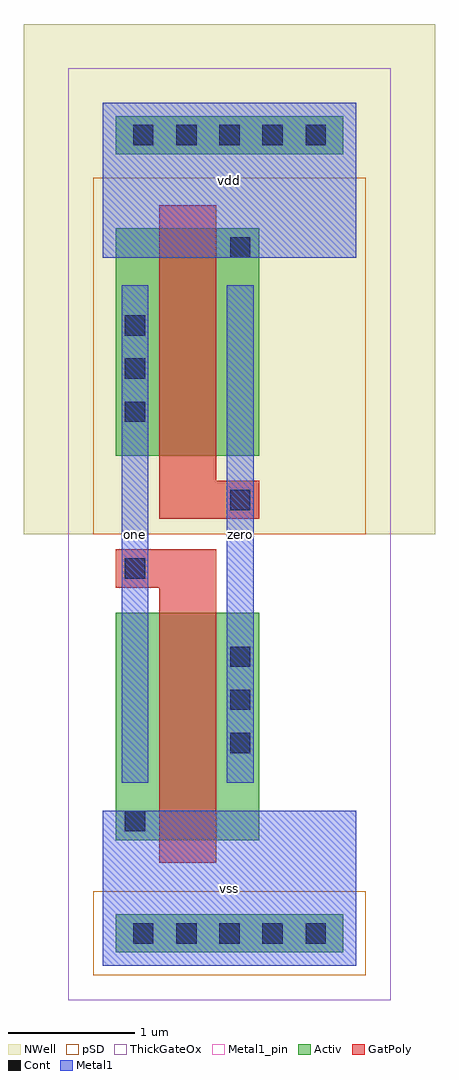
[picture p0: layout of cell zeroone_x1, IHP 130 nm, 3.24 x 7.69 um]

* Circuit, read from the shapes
.subckt zeroone_x1 one vdd vss zero
XM1 zero one vss vss sg13_hv_nmos w=1.79u l=0.45u
XM2 vdd zero one vdd sg13_hv_pmos w=1.79u l=0.45u
.ends

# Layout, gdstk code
import gdstk
lib = gdstk.Library(unit=1e-6, precision=1e-09)
def R(c, l, rs):  # rectangles x0, y0, x1, y1
    for r in rs: c.add(gdstk.rectangle(r[:2], r[2:], *l))
def A(c, l, x, y, w, h, nx, ny, dx, dy):  # array of equal rectangles
    R(c, l, [(x+i*dx, y+j*dy, x+i*dx+w, y+j*dy+h) for i in range(nx) for j in range(ny)])
def P(c, l, *ps):  # polygons
    for p in ps: c.add(gdstk.Polygon(p, *l))
Activ = (1, 0)
GatPoly = (5, 0)
Cont = (6, 0)
Metal1 = (8, 0)
Metal1_pin = (8, 2)
pSD = (14, 0)
NWell = (31, 0)
ThickGateOx = (44, 0)

zeroone_x1 = lib.new_cell('zeroone_x1')
R(zeroone_x1, Activ, [(0.105,0.105,1.895,0.405), (0.105,0.99,1.235,2.78), (0.105,4.02,1.235,5.81), (0.105,6.395,1.895,6.695)])
P(zeroone_x1, GatPoly, [(0.445,0.81),(0.445,2.98),(0.105,2.98),(0.105,3.28),(0.895,3.28),(0.895,0.81)],
  [(0.445,3.52),(0.445,5.99),(0.895,5.99),(0.895,3.82),(1.235,3.82),(1.235,3.52)])
A(zeroone_x1, Cont, 0.24, 0.175, 0.16, 0.16, 5, 2, 0.34, 6.29)
A(zeroone_x1, Cont, 1.005, 1.675, 0.16, 0.16, 1, 3, 0, 0.34)
A(zeroone_x1, Cont, 0.175, 4.285, 0.16, 0.16, 1, 3, 0, 0.34)
R(zeroone_x1, Cont, [(0.175,1.06,0.335,1.22), (0.175,3.05,0.335,3.21), (1.005,3.59,1.165,3.75), (1.005,5.58,1.165,5.74)])
R(zeroone_x1, Metal1, [(0,0,2,1.22), (0.15,1.44,0.36,5.36), (0.98,1.44,1.19,5.36), (0,5.58,2,6.8)])
R(zeroone_x1, Metal1_pin, [(0,0,2,1.22), (0.15,1.44,0.36,5.36), (0.98,1.44,1.19,5.36), (0,5.58,2,6.8)])
R(zeroone_x1, pSD, [(-0.075,-0.075,2.075,0.585), (-0.075,3.4,2.075,6.21)])
R(zeroone_x1, NWell, [(-0.62,3.4,2.62,7.42)])
R(zeroone_x1, ThickGateOx, [(-0.27,-0.27,2.27,7.07)])
zeroone_x1.add(gdstk.Label('vss', (1,0.61), layer=8, texttype=2))
zeroone_x1.add(gdstk.Label('one', (0.255,3.4), layer=8, texttype=2))
zeroone_x1.add(gdstk.Label('vdd', (1,6.19), layer=8, texttype=2))
zeroone_x1.add(gdstk.Label('zero', (1.085,3.4), layer=8, texttype=2))

lib.write_gds('zeroone_x1.gds')
